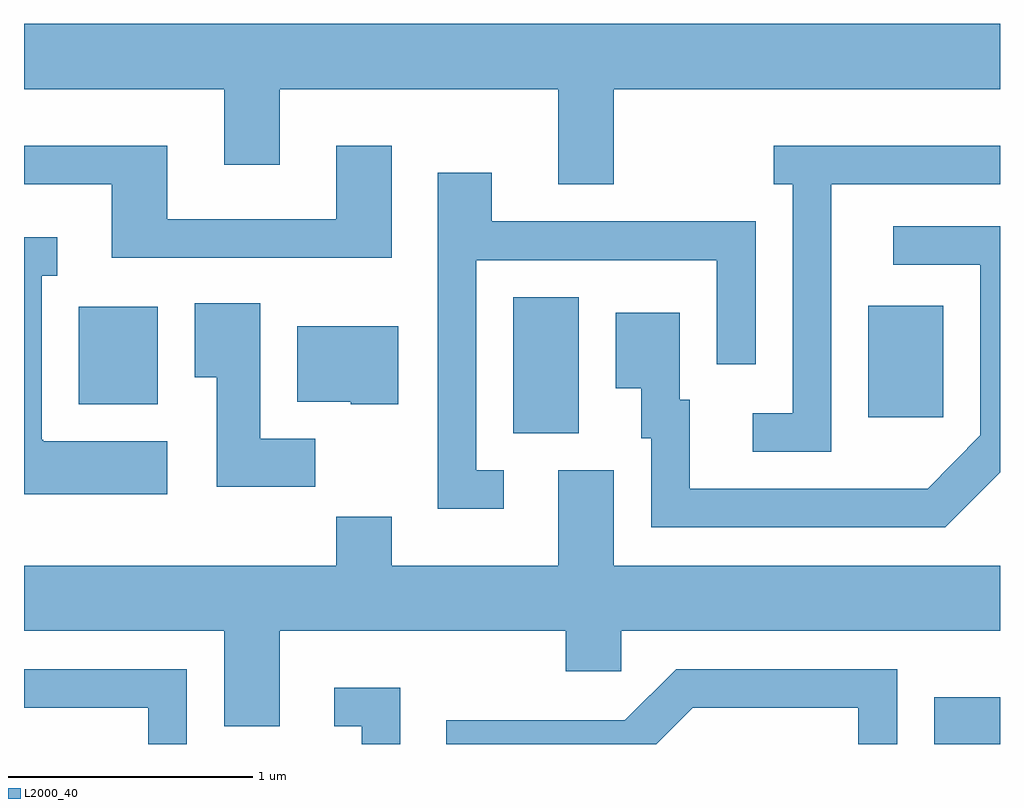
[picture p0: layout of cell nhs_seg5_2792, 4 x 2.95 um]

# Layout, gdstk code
import gdstk
lib = gdstk.Library(unit=1e-6, precision=1e-09)
def R(c, l, rs):  # rectangles x0, y0, x1, y1
    for r in rs: c.add(gdstk.rectangle(r[:2], r[2:], *l))
def P(c, l, *ps):  # polygons
    for p in ps: c.add(gdstk.Polygon(p, *l))
L2000_40 = (2000, 40)

nhs_seg5_2792 = lib.new_cell('nhs_seg5_2792')
R(nhs_seg5_2792, L2000_40, [(271.341,1494.072,271.611,1494.264), (269.616,1495.346,269.884,1495.904), (271.071,1495.411,271.379,1495.869), (267.836,1495.466,268.159,1495.864)])
P(nhs_seg5_2792, L2000_40, [(270.029,1496.756),(271.611,1496.756),(271.611,1497.024),(267.611,1497.024),(267.611,1496.756),(268.431,1496.756),(268.431,1496.446),(268.659,1496.446),(268.659,1496.756),(269.801,1496.756),(269.801,1496.366),(270.029,1496.366)],
  [(269.119,1496.524),(268.891,1496.524),(268.891,1496.224),(268.199,1496.224),(268.199,1496.524),(267.611,1496.524),(267.611,1496.366),(267.971,1496.366),(267.971,1496.066),(269.119,1496.066)],
  [(270.919,1496.366),(271.611,1496.366),(271.611,1496.524),(270.683,1496.524),(270.683,1496.366),(270.761,1496.366),(270.761,1495.429),(270.598,1495.429),(270.598,1495.271),(270.919,1495.271)],
  [(269.578,1495.194),(269.464,1495.194),(269.464,1496.056),(270.451,1496.056),(270.451,1495.628),(270.609,1495.628),(270.609,1496.214),(269.529,1496.214),(269.529,1496.414),(269.306,1496.414),(269.306,1495.036),(269.578,1495.036)],
  [(271.611,1495.186),(271.611,1496.194),(271.173,1496.194),(271.173,1496.036),(271.531,1496.036),(271.531,1495.337),(271.314,1495.119),(270.339,1495.119),(270.339,1495.484),(270.299,1495.484),(270.299,1495.839),(270.036,1495.839),(270.036,1495.531),(270.141,1495.531),(270.141,1495.326),(270.181,1495.326),(270.181,1494.961),(271.387,1494.961)],
  [(268.199,1495.314),(267.69,1495.314),(267.69,1495.32),(267.684,1495.32),(267.684,1495.991),(267.748,1495.991),(267.748,1496.149),(267.611,1496.149),(267.611,1495.096),(268.199,1495.096)],
  [(268.804,1495.324),(268.579,1495.324),(268.579,1495.879),(268.311,1495.879),(268.311,1495.576),(268.401,1495.576),(268.401,1495.126),(268.804,1495.126)],
  [(269.144,1495.784),(268.731,1495.784),(268.731,1495.476),(268.95,1495.476),(268.95,1495.466),(269.144,1495.466)],
  [(268.659,1494.536),(269.831,1494.536),(269.831,1494.371),(270.059,1494.371),(270.059,1494.536),(271.611,1494.536),(271.611,1494.804),(270.029,1494.804),(270.029,1495.194),(269.801,1495.194),(269.801,1494.804),(269.119,1494.804),(269.119,1495.004),(268.891,1495.004),(268.891,1494.804),(267.611,1494.804),(267.611,1494.536),(268.431,1494.536),(268.431,1494.146),(268.659,1494.146)],
  [(268.279,1494.379),(267.611,1494.379),(267.611,1494.221),(268.121,1494.221),(268.121,1494.072),(268.279,1494.072)],
  [(270.352,1494.221),(271.031,1494.221),(271.031,1494.072),(271.189,1494.072),(271.189,1494.379),(270.284,1494.379),(270.074,1494.169),(269.341,1494.169),(269.341,1494.072),(270.203,1494.072)],
  [(269.154,1494.304),(268.883,1494.304),(268.883,1494.146),(268.996,1494.146),(268.996,1494.072),(269.154,1494.072)])

lib.write_gds('nhs_seg5_2792.gds')
